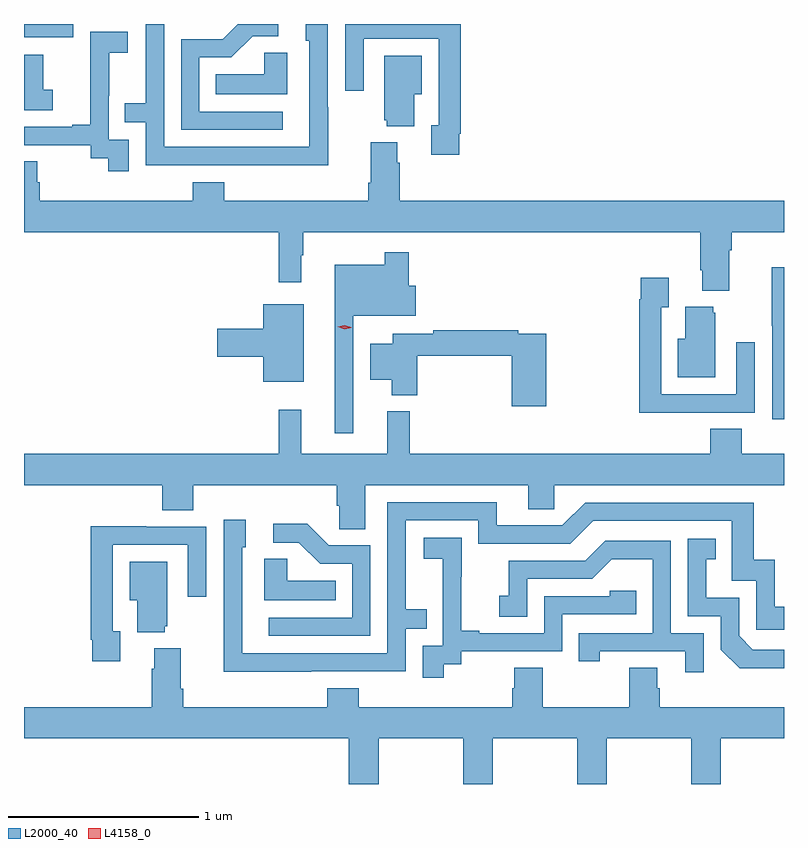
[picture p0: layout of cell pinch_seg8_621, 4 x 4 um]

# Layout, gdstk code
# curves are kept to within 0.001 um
import gdstk
lib = gdstk.Library(unit=1e-6, precision=1e-09)
def R(c, l, rs):  # rectangles x0, y0, x1, y1
    for r in rs: c.add(gdstk.rectangle(r[:2], r[2:], *l))
def P(c, l, *ps):  # polygons
    for p in ps: c.add(gdstk.Polygon(p, *l))
L2000_40 = (2000, 40)
L4158_0 = (4158, 0)

pinch_seg8_621 = lib.new_cell('pinch_seg8_621')
R(pinch_seg8_621, L2000_40, [(327.046,1109.532,327.306,1109.603)])
P(pinch_seg8_621, L2000_40, [(328.408,1109.142),(327.969,1109.142),(327.969,1109.427),(328.138,1109.427),(328.249,1109.538),(328.384,1109.538),(328.384,1109.603),(328.172,1109.603),(328.092,1109.523),(327.873,1109.523),(327.873,1109.046),(328.408,1109.046)],
  [(328.647,1109.165),(328.644,1109.165),(328.644,1109.603),(328.529,1109.603),(328.529,1109.514),(328.548,1109.514),(328.548,1108.956),(327.783,1108.956),(327.783,1109.603),(327.687,1109.603),(327.687,1109.186),(327.577,1109.186),(327.577,1109.085),(327.687,1109.085),(327.687,1108.86),(328.183,1108.86),(328.183,1108.859),(328.647,1108.859)],
  [(329.338,1109.026),(329.345,1109.026),(329.345,1109.603),(328.737,1109.603),(328.737,1109.253),(328.833,1109.253),(328.833,1109.526),(329.229,1109.526),(329.229,1109.07),(329.189,1109.07),(329.189,1108.914),(329.338,1108.914)],
  [(327.597,1108.995),(327.492,1108.995),(327.492,1109.225),(327.494,1109.225),(327.494,1109.453),(327.592,1109.453),(327.592,1109.563),(327.394,1109.563),(327.394,1109.357),(327.395,1109.357),(327.395,1109.074),(327.299,1109.074),(327.299,1109.061),(327.046,1109.061),(327.046,1108.965),(327.396,1108.965),(327.396,1108.897),(327.489,1108.897),(327.489,1108.827),(327.597,1108.827)],
  [(328.432,1109.453),(328.311,1109.453),(328.311,1109.338),(328.054,1109.338),(328.054,1109.234),(328.432,1109.234)],
  [(327.196,1109.257),(327.147,1109.257),(327.147,1109.442),(327.046,1109.442),(327.046,1109.346),(327.048,1109.346),(327.048,1109.148),(327.196,1109.148)],
  [(329.101,1109.234),(329.14,1109.234),(329.14,1109.437),(328.943,1109.437),(328.943,1109.097),(328.955,1109.097),(328.955,1109.066),(329.101,1109.066)],
  [(330.757,1108.412),(330.77,1108.412),(330.77,1108.508),(331.046,1108.508),(331.046,1108.672),(329.024,1108.672),(329.024,1108.874),(329.011,1108.874),(329.011,1108.981),(328.871,1108.981),(328.871,1108.768),(328.859,1108.768),(328.859,1108.672),(328.1,1108.672),(328.1,1108.771),(327.935,1108.771),(327.935,1108.672),(327.128,1108.672),(327.128,1108.77),(327.115,1108.77),(327.115,1108.88),(327.046,1108.88),(327.046,1108.508),(328.387,1108.508),(328.387,1108.245),(328.504,1108.245),(328.504,1108.385),(328.516,1108.385),(328.516,1108.508),(330.605,1108.508),(330.605,1108.306),(330.617,1108.306),(330.617,1108.199),(330.757,1108.199)],
  [(328.779,1108.067),(329.107,1108.067),(329.107,1108.225),(329.072,1108.225),(329.072,1108.402),(328.944,1108.402),(328.944,1108.336),(328.682,1108.336),(328.682,1107.45),(328.779,1107.45)],
  [(331.046,1108.322),(330.982,1108.322),(330.982,1108.015),(330.984,1108.015),(330.984,1107.522),(331.046,1107.522)],
  [(330.575,1107.558),(330.891,1107.558),(330.891,1107.928),(330.795,1107.928),(330.795,1107.654),(330.399,1107.654),(330.399,1108.111),(330.439,1108.111),(330.439,1108.267),(330.291,1108.267),(330.291,1108.154),(330.283,1108.154),(330.283,1107.557),(330.575,1107.557)],
  [(328.519,1108.129),(328.304,1108.129),(328.304,1107.998),(328.062,1107.998),(328.062,1107.851),(328.304,1107.851),(328.304,1107.719),(328.519,1107.719)],
  [(330.685,1108.083),(330.674,1108.083),(330.674,1108.114),(330.527,1108.114),(330.527,1107.946),(330.488,1107.946),(330.488,1107.743),(330.685,1107.743)],
  [(329.795,1107.972),(329.648,1107.972),(329.648,1107.992),(329.2,1107.992),(329.2,1107.972),(328.988,1107.972),(328.988,1107.919),(328.868,1107.919),(328.868,1107.731),(328.982,1107.731),(328.982,1107.65),(329.117,1107.65),(329.117,1107.856),(329.612,1107.856),(329.612,1107.591),(329.795,1107.591)],
  [(328.843,1107.176),(329.699,1107.176),(329.699,1107.049),(329.838,1107.049),(329.838,1107.176),(331.046,1107.176),(331.046,1107.34),(330.824,1107.34),(330.824,1107.473),(330.659,1107.473),(330.659,1107.34),(329.075,1107.34),(329.075,1107.565),(328.958,1107.565),(328.958,1107.34),(328.505,1107.34),(328.505,1107.574),(328.387,1107.574),(328.387,1107.34),(327.046,1107.34),(327.046,1107.176),(327.773,1107.176),(327.773,1107.043),(327.938,1107.043),(327.938,1107.176),(328.691,1107.176),(328.691,1107.067),(328.704,1107.067),(328.704,1106.944),(328.843,1106.944)],
  [(328.559,1106.196),(329.055,1106.196),(329.055,1106.421),(329.165,1106.421),(329.165,1106.522),(329.055,1106.522),(329.055,1106.991),(329.436,1106.991),(329.436,1106.868),(329.922,1106.868),(330.042,1106.988),(330.771,1106.988),(330.771,1106.673),(330.9,1106.673),(330.9,1106.415),(331.046,1106.415),(331.046,1106.535),(330.998,1106.535),(330.998,1106.782),(330.887,1106.782),(330.887,1107.084),(330,1107.084),(329.88,1106.964),(329.533,1106.964),(329.533,1107.087),(328.959,1107.087),(328.959,1106.292),(328.194,1106.292),(328.194,1106.85),(328.213,1106.85),(328.213,1106.995),(328.098,1106.995),(328.098,1106.501),(328.096,1106.501),(328.096,1106.195)],
  [(328.869,1106.859),(328.65,1106.859),(328.537,1106.972),(328.359,1106.972),(328.359,1106.874),(328.493,1106.874),(328.604,1106.763),(328.773,1106.763),(328.773,1106.478),(328.335,1106.478),(328.335,1106.382),(328.869,1106.382)],
  [(327.553,1106.406),(327.513,1106.406),(327.513,1106.862),(327.909,1106.862),(327.909,1106.589),(328.005,1106.589),(328.005,1106.958),(327.689,1106.958),(327.689,1106.96),(327.397,1106.96),(327.397,1106.362),(327.405,1106.362),(327.405,1106.25),(327.553,1106.25)],
  [(329.254,1106.233),(329.346,1106.233),(329.346,1106.301),(329.88,1106.301),(329.88,1106.496),(330.269,1106.496),(330.269,1106.619),(330.129,1106.619),(330.129,1106.592),(329.784,1106.592),(329.784,1106.397),(329.443,1106.397),(329.443,1106.41),(329.348,1106.41),(329.348,1106.693),(329.349,1106.693),(329.349,1106.899),(329.151,1106.899),(329.151,1106.789),(329.249,1106.789),(329.249,1106.561),(329.25,1106.561),(329.25,1106.331),(329.145,1106.331),(329.145,1106.163),(329.254,1106.163)],
  [(331.046,1106.31),(330.882,1106.31),(330.81,1106.382),(330.81,1106.583),(330.637,1106.583),(330.637,1106.787),(330.686,1106.787),(330.686,1106.893),(330.54,1106.893),(330.54,1106.487),(330.714,1106.487),(330.714,1106.31),(330.812,1106.213),(331.046,1106.213)],
  [(330.624,1106.397),(330.45,1106.397),(330.45,1106.883),(330.104,1106.883),(329.999,1106.778),(329.596,1106.778),(329.596,1106.593),(329.547,1106.593),(329.547,1106.484),(329.694,1106.484),(329.694,1106.682),(330.036,1106.682),(330.14,1106.786),(330.354,1106.786),(330.354,1106.397),(329.965,1106.397),(329.965,1106.25),(330.076,1106.25),(330.076,1106.301),(330.527,1106.301),(330.527,1106.19),(330.624,1106.19)],
  [(328.688,1106.674),(328.431,1106.674),(328.431,1106.789),(328.31,1106.789),(328.31,1106.57),(328.688,1106.57)],
  [(327.788,1106.433),(327.799,1106.433),(327.799,1106.773),(327.602,1106.773),(327.602,1106.57),(327.641,1106.57),(327.641,1106.402),(327.788,1106.402)],
  [(328.914,1105.844),(329.359,1105.844),(329.359,1105.603),(329.514,1105.603),(329.514,1105.844),(329.959,1105.844),(329.959,1105.603),(330.114,1105.603),(330.114,1105.844),(330.559,1105.844),(330.559,1105.603),(330.714,1105.603),(330.714,1105.844),(331.046,1105.844),(331.046,1106.008),(330.392,1106.008),(330.392,1106.106),(330.379,1106.106),(330.379,1106.216),(330.232,1106.216),(330.232,1106.008),(329.775,1106.008),(329.775,1106.216),(329.627,1106.216),(329.627,1106.106),(329.615,1106.106),(329.615,1106.008),(328.808,1106.008),(328.808,1106.107),(328.643,1106.107),(328.643,1106.008),(327.884,1106.008),(327.884,1106.104),(327.871,1106.104),(327.871,1106.317),(327.731,1106.317),(327.731,1106.21),(327.719,1106.21),(327.719,1106.008),(327.046,1106.008),(327.046,1105.844),(328.754,1105.844),(328.754,1105.603),(328.914,1105.603)])
P(pinch_seg8_621, L4158_0, [(328.733,1107.997),(328.698,1108.009),(328.698,1108.009),(328.698,1108.009),(328.734,1108.017),(328.769,1108.006),(328.769,1108.006),(328.769,1108.005)])

lib.write_gds('pinch_seg8_621.gds')
